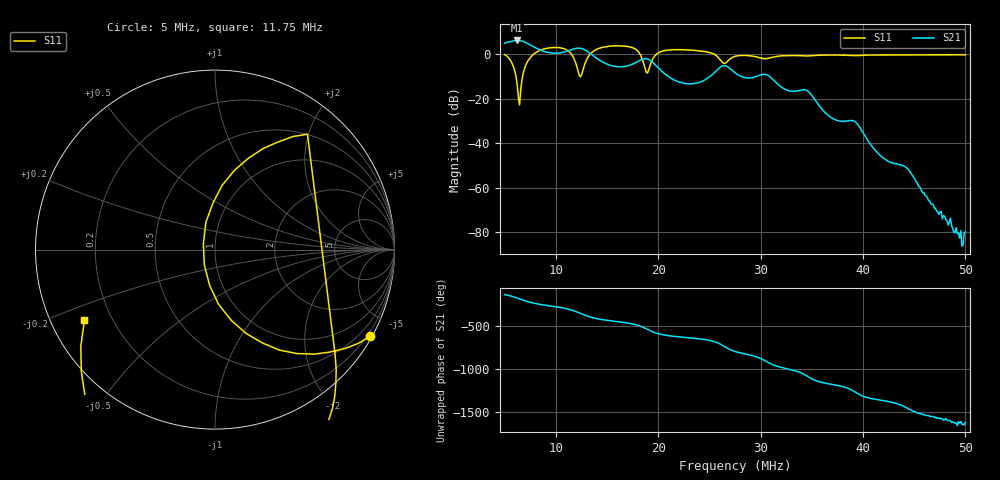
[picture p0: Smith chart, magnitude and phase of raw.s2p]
! S11/S21 only; reverse parameters are placeholders. Device calibration unverified.
! NanoVNA F V2 profile | COM3 | 2026-09-08T11:52:41.9209068-04:00 | device calibration unverified
# HZ S RI R 50
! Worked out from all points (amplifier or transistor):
!   401 points, 5 MHz to 50 MHz, reference 50 ohm
!   highest |S21| = 6.3 dB at 6.237 MHz (marker M1)
!   |S21| within 3 dB of that: start of sweep to 7.888 MHz
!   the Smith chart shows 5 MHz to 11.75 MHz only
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5000000  0.8644 -0.4839  -1.36 -1.179  0 0  0 0
6237500  -0.0297 -0.1993  -2.058 -0.0168  0 0  0 0
7250000  0.3545 0.601  -1.335 1.141  0 0  0 0
7812500  0.6735 -0.7407  -0.7921 1.261  0 0  0 0
1.0175e7  -0.098 -1.424  0.2581 1.04  0 0  0 0
1.16375e7  -0.7476 -0.5375  1.031 0.8005  0 0  0 0
1.25375e7  0.1077 0.3422  1.349 -0.0722  0 0  0 0
1.3325e7  0.9905 0.00588  0.842 -0.647  0 0  0 0
1.41125e7  1.229 -0.5306  0.3887 -0.6772  0 0  0 0
1.715e7  0.5068 -1.4  -0.2014 -0.5279  0 0  0 0
1.79375e7  -0.1429 -1.215  -0.4509 -0.5062  0 0  0 0
1.86125e7  -0.5351 -0.2429  -0.7566 -0.2423  0 0  0 0
1.9175e7  0.1747 0.5069  -0.7187 0.2001  0 0  0 0
2.0075e7  1.084 0.1948  -0.279 0.3894  0 0  0 0
2.435e7  0.9699 -0.6692  0.111 0.2253  0 0  0 0
2.62625e7  0.5005 -0.4376  0.5467 -0.0497  0 0  0 0
2.75e7  0.8464 -0.3084  0.0842 -0.378  0 0  0 0
3.03125e7  0.6825 -0.4242  -0.3573 -0.019  0 0  0 0
3.14375e7  0.7733 -0.4408  -0.1159 0.2119  0 0  0 0
3.50375e7  0.6901 -0.6322  0.0947 -0.0688  0 0  0 0
4.2575e7  0.4434 -0.8686  0.00187 0.00337  0 0  0 0
5e7  0.1619 -0.9638  -0.000102 -4e-06  0 0  0 0
